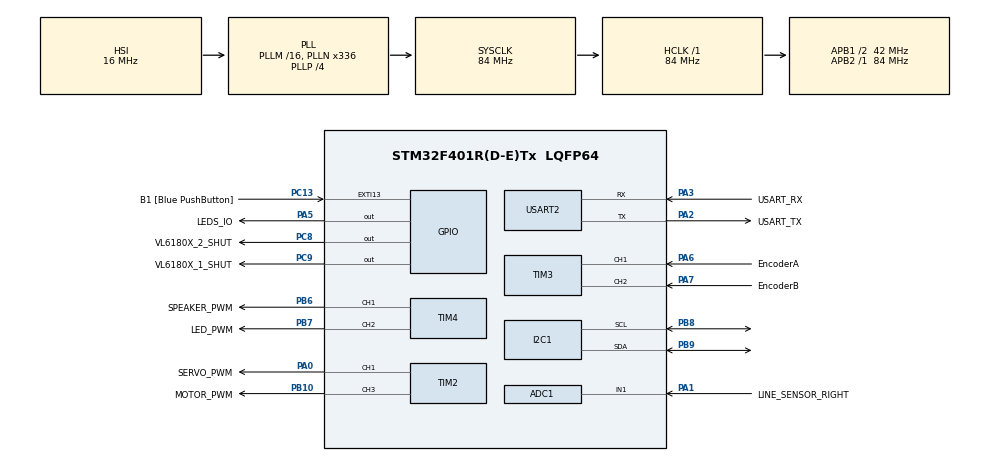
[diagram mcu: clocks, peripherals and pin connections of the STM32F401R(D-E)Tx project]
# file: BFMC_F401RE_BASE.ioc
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ADC1.Channel-0\#ChannelRegularConversion=ADC_CHANNEL_1
ADC1.EnableAnalogWatchDog=false
ADC1.NbrOfConversionFlag=1
ADC1.Rank-0\#ChannelRegularConversion=1
ADC1.SamplingTime-0\#ChannelRegularConversion=ADC_SAMPLETIME_15CYCLES
ADC1.master=1
Dma.Request0=USART2_RX
Dma.Request1=USART2_TX
Dma.USART2_RX.0.Direction=DMA_PERIPH_TO_MEMORY
Dma.USART2_RX.0.FIFOMode=DMA_FIFOMODE_DISABLE
Dma.USART2_RX.0.Instance=DMA1_Stream5
Dma.USART2_RX.0.MemDataAlignment=DMA_MDATAALIGN_BYTE
Dma.USART2_RX.0.MemInc=DMA_MINC_ENABLE
Dma.USART2_RX.0.Mode=DMA_CIRCULAR
Dma.USART2_RX.0.PeriphDataAlignment=DMA_PDATAALIGN_BYTE
Dma.USART2_RX.0.PeriphInc=DMA_PINC_DISABLE
Dma.USART2_RX.0.Priority=DMA_PRIORITY_VERY_HIGH
Dma.USART2_TX.1.Direction=DMA_MEMORY_TO_PERIPH
Dma.USART2_TX.1.FIFOMode=DMA_FIFOMODE_DISABLE
Dma.USART2_TX.1.Instance=DMA1_Stream6
Dma.USART2_TX.1.MemDataAlignment=DMA_MDATAALIGN_BYTE
Dma.USART2_TX.1.MemInc=DMA_MINC_ENABLE
Dma.USART2_TX.1.Mode=DMA_NORMAL
Dma.USART2_TX.1.PeriphDataAlignment=DMA_PDATAALIGN_BYTE
Dma.USART2_TX.1.PeriphInc=DMA_PINC_DISABLE
Dma.USART2_TX.1.Priority=DMA_PRIORITY_HIGH
I2C1.I2C_Mode=I2C_Standard
Mcu.Family=STM32F4
Mcu.Name=STM32F401R(D-E)Tx
Mcu.Package=LQFP64
Mcu.UserConstants=PUB_COUNT_MAX,14999;SERVO_PWM_COUNT_MAX,39999;SERVO_PRESCALER,41;ENC_COUNT_MAX,999;MOT_PRESCALER,41;ENC_PRESCALER,83;RASPI_UART_BAUD,1000000;PUB_PRESCALER,83;MOT_PWM_COUNT_MAX,39999
NVIC.DMA1_Stream5_IRQn=true\:0\:0\:false\:false\:true\:false\:true\:true
NVIC.DMA1_Stream6_IRQn=true\:0\:0\:false\:false\:true\:false\:true\:true
NVIC.EXTI15_10_IRQn=true\:0\:0\:false\:false\:true\:true\:true\:true
NVIC.PriorityGroup=NVIC_PRIORITYGROUP_0
NVIC.TIM1_TRG_COM_TIM11_IRQn=true\:0\:0\:false\:false\:true\:true\:true\:true
NVIC.TIM1_UP_TIM10_IRQn=true\:0\:0\:false\:false\:true\:true\:true\:true
NVIC.USART2_IRQn=true\:0\:0\:false\:false\:true\:true\:true\:true
PA0-WKUP.GPIO_Label=SERVO_PWM
PA0-WKUP.Signal=S_TIM2_CH1_ETR
PA1.GPIO_Label=LINE_SENSOR_RIGHT
PA1.Signal=ADCx_IN1
PA13.GPIO_Label=TMS
PA13.Mode=Serial_Wire
PA13.Signal=SYS_JTMS-SWDIO
PA14.GPIO_Label=TCK
PA14.Mode=Serial_Wire
PA14.Signal=SYS_JTCK-SWCLK
PA2.GPIO_Label=USART_TX
PA2.GPIO_Mode=GPIO_MODE_AF_PP
PA2.GPIO_PuPd=GPIO_NOPULL
PA2.GPIO_Speed=GPIO_SPEED_FREQ_LOW
PA2.Mode=Asynchronous
PA2.Signal=USART2_TX
PA3.GPIO_Label=USART_RX
PA3.GPIO_Mode=GPIO_MODE_AF_PP
PA3.GPIO_PuPd=GPIO_NOPULL
PA3.GPIO_Speed=GPIO_SPEED_FREQ_LOW
PA3.Mode=Asynchronous
PA3.Signal=USART2_RX
PA5.GPIO_Label=LEDS_IO
PA5.GPIO_Mode=GPIO_MODE_OUTPUT_PP
PA5.GPIO_PuPd=GPIO_NOPULL
PA5.GPIO_Speed=GPIO_SPEED_FREQ_LOW
PA5.Signal=GPIO_Output
PA6.GPIO_Label=EncoderA
PA6.Signal=S_TIM3_CH1
PA7.GPIO_Label=EncoderB
PA7.Signal=S_TIM3_CH2
PB10.GPIO_Label=MOTOR_PWM
PB10.Signal=S_TIM2_CH3
PB3.GPIO_Label=SWO
PB3.Signal=SYS_JTDO-SWO
PB6.GPIO_Label=SPEAKER_PWM
PB6.Signal=S_TIM4_CH1
PB7.GPIO_Label=LED_PWM
PB7.Signal=S_TIM4_CH2
PB8.Mode=I2C
PB8.Signal=I2C1_SCL
PB9.Mode=I2C
PB9.Signal=I2C1_SDA
PC13-ANTI_TAMP.GPIO_Label=B1 [Blue PushButton]
PC13-ANTI_TAMP.GPIO_ModeDefaultEXTI=GPIO_MODE_IT_RISING
PC13-ANTI_TAMP.GPIO_PuPd=GPIO_NOPULL
PC13-ANTI_TAMP.Signal=GPXTI13
PC14-OSC32_IN.Mode=LSE-External-Oscillator
PC14-OSC32_IN.Signal=RCC_OSC32_IN
PC15-OSC32_OUT.Mode=LSE-External-Oscillator
PC15-OSC32_OUT.Signal=RCC_OSC32_OUT
PC8.GPIO_Label=VL6180X_2_SHUT
PC8.Signal=GPIO_Output
PC9.GPIO_Label=VL6180X_1_SHUT
PC9.Signal=GPIO_Output
PH0\ -\ OSC_IN.Mode=HSE-External-Clock-Source
PH0\ -\ OSC_IN.Signal=RCC_OSC_IN
PH1\ -\ OSC_OUT.Mode=HSE-External-Clock-Source
PH1\ -\ OSC_OUT.Signal=RCC_OSC_OUT
ProjectManager.HeapSize=0x200
ProjectManager.StackSize=0x400
ProjectManager.TargetToolchain=STM32CubeIDE
RCC.48MHZClocksFreq_Value=48000000
RCC.AHBFreq_Value=84000000
RCC.APB1CLKDivider=RCC_HCLK_DIV2
RCC.APB1Freq_Value=42000000
RCC.APB1TimFreq_Value=84000000
RCC.APB2Freq_Value=84000000
RCC.APB2TimFreq_Value=84000000
RCC.CortexFreq_Value=84000000
RCC.HCLKFreq_Value=84000000
RCC.HSE_VALUE=8000000
RCC.HSI_VALUE=16000000
RCC.PLLN=336
RCC.PLLP=RCC_PLLP_DIV4
RCC.PLLQ=7
RCC.SYSCLKFreq_VALUE=84000000
RCC.SYSCLKSource=RCC_SYSCLKSOURCE_PLLCLK
RCC.VCOOutputFreq_Value=336000000
SH.ADCx_IN1.0=ADC1_IN1,IN1
SH.S_TIM2_CH1_ETR.0=TIM2_CH1,PWM Generation1 CH1
SH.S_TIM2_CH3.0=TIM2_CH3,PWM Generation3 CH3
SH.S_TIM3_CH1.0=TIM3_CH1,Encoder_Interface
SH.S_TIM3_CH2.0=TIM3_CH2,Encoder_Interface
SH.S_TIM4_CH1.0=TIM4_CH1,PWM Generation1 CH1
SH.S_TIM4_CH2.0=TIM4_CH2,PWM Generation2 CH2
STMicroelectronics.X-CUBE-ALGOBUILD.1.4.0.LibraryCcDSPOoLibraryJjDSPOoLibrary=true
TIM10.Period=PUB_COUNT_MAX
TIM10.Prescaler=PUB_PRESCALER
TIM11.Period=ENC_COUNT_MAX
TIM11.Prescaler=ENC_PRESCALER
TIM2.Channel-PWM\ Generation1\ CH1=TIM_CHANNEL_1
TIM2.Channel-PWM\ Generation3\ CH3=TIM_CHANNEL_3
TIM2.OCFastMode_PWM-PWM\ Generation1\ CH1=TIM_OCFAST_ENABLE
TIM2.Period=SERVO_PWM_COUNT_MAX
TIM2.Prescaler=SERVO_PRESCALER
TIM3.EncoderMode=TIM_ENCODERMODE_TI12
TIM3.IC1Filter=5
TIM3.IC2Filter=5
TIM4.Channel-PWM\ Generation1\ CH1=TIM_CHANNEL_1
TIM4.Channel-PWM\ Generation2\ CH2=TIM_CHANNEL_2
USART2.BaudRate=RASPI_UART_BAUD
USART2.VirtualMode=VM_ASYNC
VP_STMicroelectronics.X-CUBE-ALGOBUILD_VS_DSPOoLibraryJjLibrary_1.4.0_1.4.0.Mode=DSPOoLibraryJjLibrary
VP_TIM10_VS_ClockSourceINT.Mode=Enable_Timer
VP_TIM11_VS_ClockSourceINT.Mode=Enable_Timer
VP_TIM2_VS_ClockSourceINT.Mode=Internal
board=NUCLEO-F401RE

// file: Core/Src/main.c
/* USER CODE BEGIN Header */
/**
 ******************************************************************************
 * @file           : main.c
 * @brief          : Main program body
 ******************************************************************************
 * @attention
 *
 * Copyright (c) 2025 STMicroelectronics.
 * All rights reserved.
 *
 * This software is licensed under terms that can be found in the LICENSE file
 * in the root directory of this software component.
 * If no LICENSE file comes with this software, it is provided AS-IS.
 *
 ******************************************************************************
 */
/* USER CODE END Header */
#include "main.h"
#include "adc.h"
#include "dma.h"
#include "i2c.h"
#include "tim.h"
#include "usart.h"
#include "gpio.h"

/* USER CODE BEGIN Includes */
#include "mainpp.h"

#include "string.h"
#include <stdio.h>
#include <stdbool.h>
#include <stdlib.h>

#include "imu.h"

/* USER CODE END Includes */

/* USER CODE BEGIN PV */

char *msg = " Hello Nucleo!\n\r";

/* USER CODE END PV */

void SystemClock_Config(void);

int main(void)
{

  /* MCU Configuration--------------------------------------------------------*/

  /* Reset of all peripherals, Initializes the Flash interface and the Systick. */
  HAL_Init();

  /* Configure the system clock */
  SystemClock_Config();

  /* Initialize all configured peripherals */
  MX_GPIO_Init();
  MX_DMA_Init();
  MX_USART2_UART_Init();
  MX_TIM4_Init();
  MX_TIM10_Init();
  MX_TIM11_Init();
  MX_TIM2_Init();
  MX_TIM3_Init();
  MX_I2C1_Init();
  MX_ADC1_Init();
  /* USER CODE BEGIN 2 */

	//printf(" Start IMU setup... \r\n");
	//setupIMU();

	printf("%s", msg);
	printf("Start ROS setup daje... \r\n");
	setup();

  /* USER CODE END 2 */

  /* Infinite loop */
  /* USER CODE BEGIN WHILE */
	while (1)
	{
		loop();
    /* USER CODE END WHILE */

	}
}

void SystemClock_Config(void)
{
  RCC_OscInitTypeDef RCC_OscInitStruct = {0};
  RCC_ClkInitTypeDef RCC_ClkInitStruct = {0};

  /** Configure the main internal regulator output voltage
  */
  __HAL_RCC_PWR_CLK_ENABLE();
  __HAL_PWR_VOLTAGESCALING_CONFIG(PWR_REGULATOR_VOLTAGE_SCALE2);

  /** Initializes the RCC Oscillators according to the specified parameters
  * in the RCC_OscInitTypeDef structure.
  */
  RCC_OscInitStruct.OscillatorType = RCC_OSCILLATORTYPE_HSI;
  RCC_OscInitStruct.HSIState = RCC_HSI_ON;
  RCC_OscInitStruct.HSICalibrationValue = RCC_HSICALIBRATION_DEFAULT;
  RCC_OscInitStruct.PLL.PLLState = RCC_PLL_ON;
  RCC_OscInitStruct.PLL.PLLSource = RCC_PLLSOURCE_HSI;
  RCC_OscInitStruct.PLL.PLLM = 16;
  RCC_OscInitStruct.PLL.PLLN = 336;
  RCC_OscInitStruct.PLL.PLLP = RCC_PLLP_DIV4;
  RCC_OscInitStruct.PLL.PLLQ = 7;
  if (HAL_RCC_OscConfig(&RCC_OscInitStruct) != HAL_OK)
  {
    Error_Handler();
  }

  /** Initializes the CPU, AHB and APB buses clocks
  */
  RCC_ClkInitStruct.ClockType = RCC_CLOCKTYPE_HCLK|RCC_CLOCKTYPE_SYSCLK
                              |RCC_CLOCKTYPE_PCLK1|RCC_CLOCKTYPE_PCLK2;
  RCC_ClkInitStruct.SYSCLKSource = RCC_SYSCLKSOURCE_PLLCLK;
  RCC_ClkInitStruct.AHBCLKDivider = RCC_SYSCLK_DIV1;
  RCC_ClkInitStruct.APB1CLKDivider = RCC_HCLK_DIV2;
  RCC_ClkInitStruct.APB2CLKDivider = RCC_HCLK_DIV1;

  if (HAL_RCC_ClockConfig(&RCC_ClkInitStruct, FLASH_LATENCY_2) != HAL_OK)
  {
    Error_Handler();
  }
}

/* USER CODE BEGIN 4 */

int _write(int file, char *ptr, int len)
{
	int DataIdx;

	for (DataIdx = 0; DataIdx < len; DataIdx++)
	{
		ITM_SendChar(*ptr++);
	}
	return len;
}

/* USER CODE END 4 */

void Error_Handler(void)
{
	__disable_irq();
	while (1)
	{
	}
}
